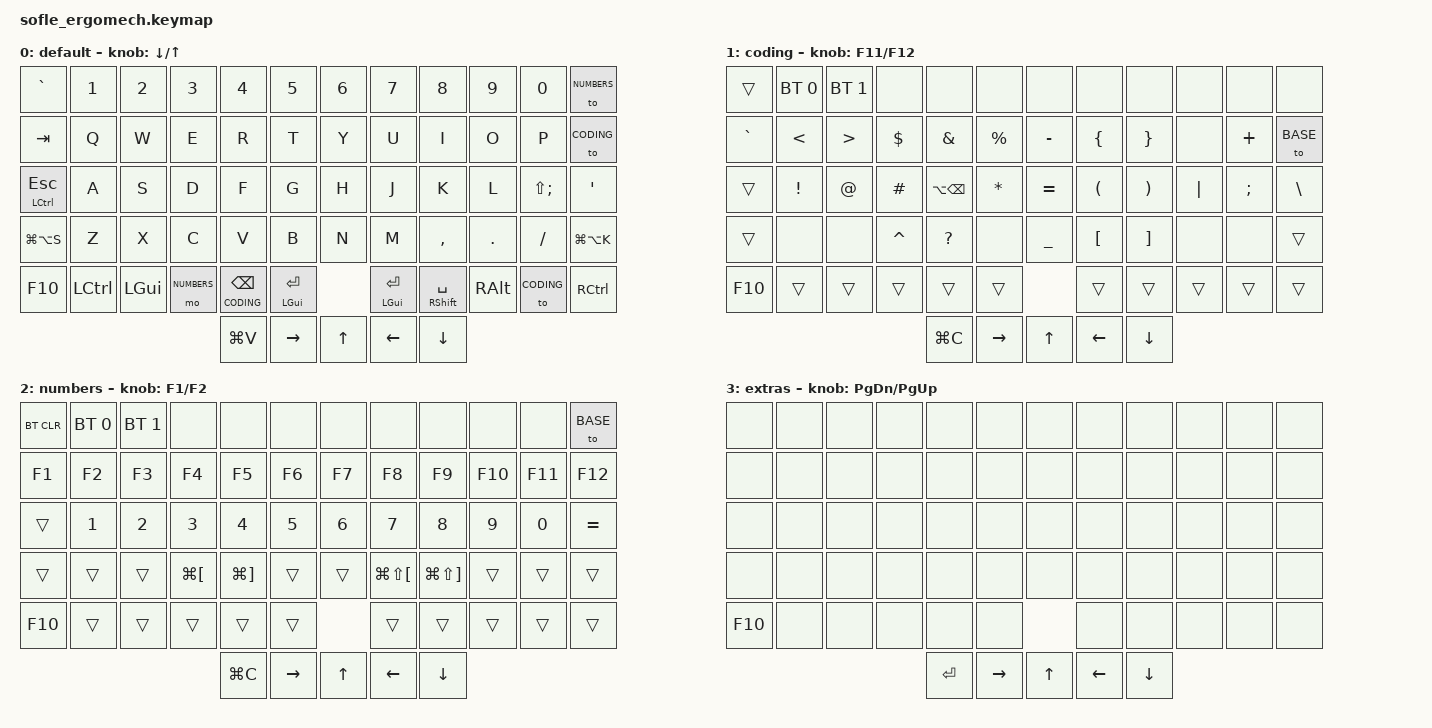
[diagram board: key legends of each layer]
/*
 * Copyright (c) 2020 The ZMK Contributors
 *
 * SPDX-License-Identifier: MIT
 */

#include <behaviors.dtsi>
#include <dt-bindings/zmk/bt.h>
#include <dt-bindings/zmk/ext_power.h>
#include <dt-bindings/zmk/keys.h>
#include <dt-bindings/zmk/rgb.h>

#define BASE 0
#define CODING 1
#define NUMBERS 2
#define EXTRAS 3

/ {
    // Activate ADJUST layer by pressing raise and lower

    // conditional_layers {
    //     compatible = "zmk,conditional-layers";

    //     adjust_layer {
    //         if-layers = <LOWER RAISE>;
    //         then-layer = <ADJUST>;
    //     };
    // };

    // see https://zmk.dev/docs/keymaps/behaviors/hold-tap
    behaviors {
      tapm: homerow_mods {
        compatible = "zmk,behavior-hold-tap";
        #binding-cells = <2>;
        tapping-term-ms = <150>;
        quick-tap-ms = <0>;
        flavor = "tap-preferred";
        bindings = <&kp>, <&kp>;
      };

      balm: balanced_homerow_mods {
        compatible = "zmk,behavior-hold-tap";
        #binding-cells = <2>;
        tapping-term-ms = <150>;
        quick-tap-ms = <0>;
        flavor = "balanced";
        bindings = <&kp>, <&kp>;
      };

      ballt: balanced_layer_tap {
        compatible = "zmk,behavior-hold-tap";
        #binding-cells = <2>;
        tapping-term-ms = <150>;
        quick-tap-ms = <0>;
        flavor = "balanced";
        bindings = <&mo>, <&kp>;
      };

      holdlt: hold_layer_tap {
        compatible = "zmk,behavior-hold-tap";
        #binding-cells = <2>;
        tapping-term-ms = <150>;
        quick-tap-ms = <0>;
        flavor = "hold-preferred";
        bindings = <&mo>, <&kp>;
      };
    };

    keymap {
        compatible = "zmk,keymap";

        default_layer {
            display-name = "default";

            // ------------------------------------------------------------------------------------------------------------
            // |   `   |  1  |  2  |  3   |  4   |  5   |                   |  6   |  7    |  8    |  9   |   0   |       |
            // |  ESC  |  Q  |  W  |  E   |  R   |  T   |                   |  Y   |  U    |  I    |  O   |   P   | BKSPC |
            // |  TAB  |  A  |  S  |  D   |  F   |  G   |                   |  H   |  J    |  K    |  L   |   ;   |   '   |
            // | SHIFT |  Z  |  X  |  C   |  V   |  B   |  MUTE  |  |       |  N   |  M    |  ,    |  .   |   /   | SHIFT |
            //               | GUI | ALT  | CTRL | LOWER|  ENTER |  | SPACE | RAISE| CTRL  | ALT   | GUI  |

            bindings = <
&kp GRAVE             &kp N1      &kp N2    &kp N3        &kp N4              &kp N5            &kp N6          &kp N7          &kp N8              &kp N9    &kp N0          &to NUMBERS
&kp TAB               &kp Q       &kp W     &kp E         &kp R               &kp T             &kp Y           &kp U           &kp I               &kp O     &kp P           &to CODING
&mt LCTRL ESC         &kp A       &kp S     &kp D         &kp F               &kp G             &kp H           &kp J           &kp K               &kp L     &kp LS(SEMI)    &kp SINGLE_QUOTE
&kp LG(LA(S))         &kp Z       &kp X     &kp C         &kp V               &kp B             &kp N           &kp M           &kp COMMA           &kp DOT   &kp SLASH       &kp LG(LA(K))
&kp F10               &kp LCTRL   &kp LGUI  &mo NUMBERS   &ballt CODING BSPC  &mt LGUI ENTER                    &mt LGUI ENTER  &tapm RSHFT SPACE   &kp RALT  &to CODING     &kp RCTRL
                                                               &kp LG(V)  &kp RIGHT  &kp UP_ARROW  &kp LEFT  &kp DOWN
            >;

            sensor-bindings = <&inc_dec_kp DOWN_ARROW UP_ARROW>;
        };

        coding_layer {
            display-name = "coding";

            // TODO: Some binds are waiting for shifted keycode support.
            // ------------------------------------------------------------------------------------------------------------
            // |       |  F1 |  F2 |  F3  |  F4  |  F5  |                   |  F6  |  F7   |  F8   |  F9  |  F10  |  F11  |
            // |   `   |  1  |  2  |  3   |  4   |  5   |                   |  6   |  7    |  8    |  9   |   0   |  F12  |
            // |       |  !  |  @  |  #   |  $   |  %   |                   |  ^   |  &    |  *    |  (   |   )   |   |   |
            // |       |  =  |  -  |  +   |  {   |  }   |        |  |       |  [   |  ]    |  ;    |  :   |   \   |       |
            //               |     |      |      |      |        |  |       |      |       |       |      |

            bindings = <
&trans     &bt BT_SEL 0     &bt BT_SEL 1     &none &none &none      &none      &none &none &none &none    &none
&kp GRAVE  &kp LESS_THAN     &kp GREATER_THAN     &kp DOLLAR    &kp AMPERSAND     &kp PERCENT     &kp MINUS               &kp LEFT_BRACE        &kp RIGHT_BRACE         &none       &kp PLUS    &to BASE
&trans     &kp EXCLAMATION   &kp AT_SIGN          &kp HASH      &kp LA(BSPC)    &kp ASTERISK    &kp EQUAL               &kp LEFT_PARENTHESIS  &kp RIGHT_PARENTHESIS   &kp PIPE    &kp SEMI    &kp BACKSLASH
&trans     &none              &none               &kp CARET     &kp QUESTION      &none           &kp UNDERSCORE          &kp LEFT_BRACKET      &kp RIGHT_BRACKET       &none       &none       &trans
&kp F10      &trans     &trans     &trans    &trans    &trans                       &trans          &trans     &trans   &trans &trans
                                                               &kp LG(C)  &kp RIGHT  &kp UP_ARROW  &kp LEFT  &kp DOWN
            >;

            sensor-bindings = <&inc_dec_kp F11 F12>;
        };

        numbers_layer {
            display-name = "numbers";

            // ------------------------------------------------------------------------------------------------------------
            // | BTCLR | BT1  | BT2  |  BT3  |  BT4  |  BT5 |                |      |      |       |      |       |       |
            // |       | INS  | PSCR | GUI   |       |      |                | PGUP |      |   ^   |      |       |       |
            // |       | ALT  | CTRL | SHIFT |       | CAPS |                | PGDN |   <- |   v   |  ->  |  DEL  | BKSPC |
            // |       | UNDO | CUT  | COPY  | PASTE |      |      |  |      |      |      |       |      |       |       |
            //                |      |       |       |      |      |  |      |      |      |       |      |

            bindings = <
&bt BT_CLR &bt BT_SEL 0 &bt BT_SEL 1 &none &none &none &none     &none    &none    &none     &none   &to BASE
&kp F1      &kp F2       &kp F3     &kp F4        &kp F5        &kp F6  &kp F7    &kp F8    &kp F9     &kp F10   &kp F11 &kp F12
&trans      &kp N1      &kp N2     &kp N3     &kp N4        &kp N5      &kp N6  &kp N7  &kp N8  &kp N9  &kp N0  &kp EQUAL
&trans      &trans      &trans      &kp LG(LEFT_BRACKET)    &kp LG(RIGHT_BRACKET)   &trans        &trans     &kp LG(LS(LEFT_BRACKET))    &kp LG(LS(RIGHT_BRACKET))   &trans     &trans   &trans
&kp F10       &trans        &trans        &trans        &trans        &trans        &trans     &trans    &trans    &trans     &trans
                                                               &kp LG(C)  &kp RIGHT  &kp UP_ARROW  &kp LEFT  &kp DOWN
            >;

            sensor-bindings = <&inc_dec_kp F1 F2>;
        };

        extras_layer {
            // ----------------------------------------------------------------------------------------------------------------------------
            // | BTCLR  |  BT1    |  BT2    |   BT3   |   BT4   |   BT5   |                  |      |      |       |      |       |       |
            // | EXTPWR | RGB_HUD | RGB_HUI | RGB_SAD | RGB_SAI | RGB_EFF |                  |      |      |       |      |       |       |
            // |        | RGB_BRD | RGB_BRI |         |         |         |                  |      |      |       |      |       |       |
            // |        |         |         |         |         |         | RGB_TOG | |      |      |      |       |      |       |       |
            //                    |         |         |         |         |         | |      |      |      |       |      |

            display-name = "extras";

            bindings = <
&none &none &none &none &none &none &none  &none  &none  &none  &none  &none
&none &none &none &none &none &none &none  &none  &none  &none  &none  &none
&none &none &none &none &none &none &none  &none  &none  &none  &none  &none
&none &none &none &none &none &none &none  &none  &none  &none  &none  &none
&kp F10 &none &none &none &none &none &none  &none  &none  &none  &none
                                                                                                        &kp ENTER  &kp RIGHT_ARROW  &kp UP_ARROW  &kp LEFT_ARROW  &kp DOWN_ARROW
            >;

            sensor-bindings = <&inc_dec_kp PG_DN PG_UP>;
        };
    };
};
